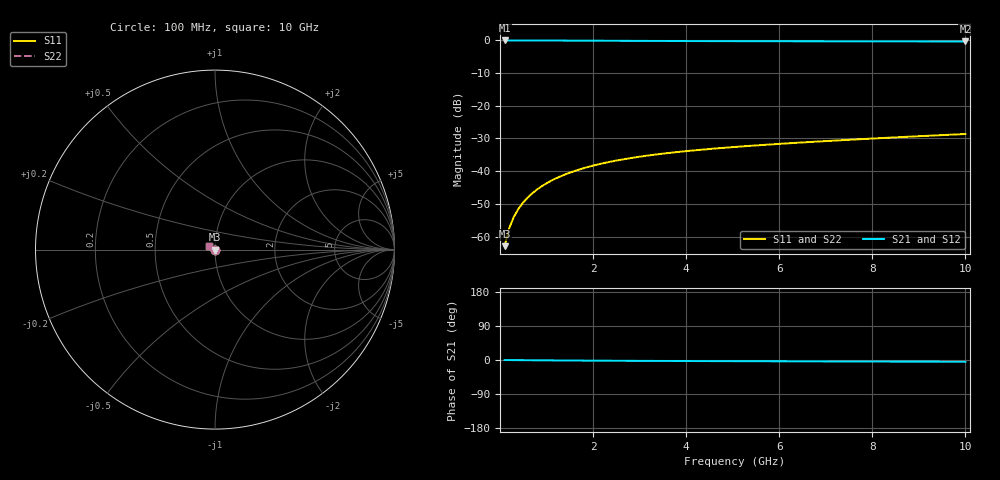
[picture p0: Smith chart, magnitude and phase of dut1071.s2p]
! Touchstone file exported from HFSS 2024.1.0
!  File:  C:/UserFiles/LocalFiles/RDL_TSV_Batchsim/temp_TSV1_1071_1780064495.aedt
!  Generated:  10:27:57 PM May 29, 2026
!  Design:  TSV1
!  Project:  temp_TSV1_1071_1780064495
!  Setup:  Setup1
!  Solution:  Sweep
! Variables:
!  dtsv = 7.2um
!  hbump = 3um
!  htsv = 68.6um
!  lrdl = 252.1521522um
!  p = 40
!  p1 = 56.02um
!  t = 500um
!  trdl = 3um
!  wrdl = 24.89489489um
# GHz S MA R 50.000000
! Terminal data exported
! Port[1] = TSV22_T1
! Port[2] = TSV22_T2
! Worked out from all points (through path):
!   100 points, 100 MHz to 10 GHz, reference 50 ohm
!   highest |S21| = 0.00 dB at 100 MHz (marker M1); lowest = -0.3 dB at 10 GHz (marker M2)
!   lowest |S11| = -62.9 dB at 100 MHz (marker M3), VSWR 1.00, Z = 50 - j0.0676 ohm
!   |S11| at or under -10 dB: start of sweep to end of sweep
!   |S22| runs from -62.9 to -28.6 dB; largest |S21 - S12| = 3.1e-15
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0.1  0.0007122 -71.6  0.9997 -0.1  0.9997 -0.1  0.0007122 -71.6
! Gamma 0 0 0 0
! Port Impedance 50 0 50 0
0.2  0.001355 -84.0  0.9996 -0.2  0.9996 -0.2  0.001355 -84.0
0.3  0.002011 -89.9  0.9995 -0.3  0.9995 -0.3  0.002011 -89.9
0.4  0.002668 -94.1  0.9993 -0.4  0.9993 -0.4  0.002668 -94.1
0.5  0.003323 -97.5  0.999 -0.5  0.999 -0.5  0.003323 -97.5
0.6  0.003975 -100.5  0.9987 -0.6  0.9987 -0.6  0.003975 -100.5
0.7  0.004621 -103.3  0.9983 -0.7  0.9983 -0.7  0.004621 -103.3
0.8  0.005262 -106.0  0.9979 -0.8  0.9979 -0.8  0.005262 -106.0
0.9  0.005894 -108.5  0.9975 -0.9  0.9975 -0.9  0.005894 -108.5
1.1  0.007133 -113.4  0.9965 -1.0  0.9965 -1.0  0.007133 -113.4
1.4  0.008914 -120.2  0.9948 -1.3  0.9948 -1.3  0.008914 -120.2
1.6  0.01004 -124.4  0.9936 -1.4  0.9936 -1.4  0.01004 -124.4
1.8  0.01113 -128.6  0.9924 -1.6  0.9924 -1.6  0.01113 -128.6
2.1  0.01266 -134.5  0.9904 -1.8  0.9904 -1.8  0.01266 -134.5
2.5  0.01453 -141.8  0.9878 -2.0  0.9878 -2.0  0.01453 -141.8
2.9  0.01624 -148.6  0.9853 -2.2  0.9853 -2.2  0.01624 -148.6
3.4  0.01817 -156.4  0.9824 -2.5  0.9824 -2.5  0.01817 -156.4
4.2  0.02089 -167.4  0.9784 -2.8  0.9784 -2.8  0.02089 -167.4
5.1  0.02362 -177.9  0.9749 -3.1  0.9749 -3.1  0.02362 -177.9
6.7  0.02805 167.1  0.9704 -3.6  0.9704 -3.6  0.02805 167.1
8.4  0.03263 154.9  0.9674 -4.2  0.9674 -4.2  0.03263 154.9
10  0.03702 145.9  0.9653 -4.8  0.9653 -4.8  0.03702 145.9
